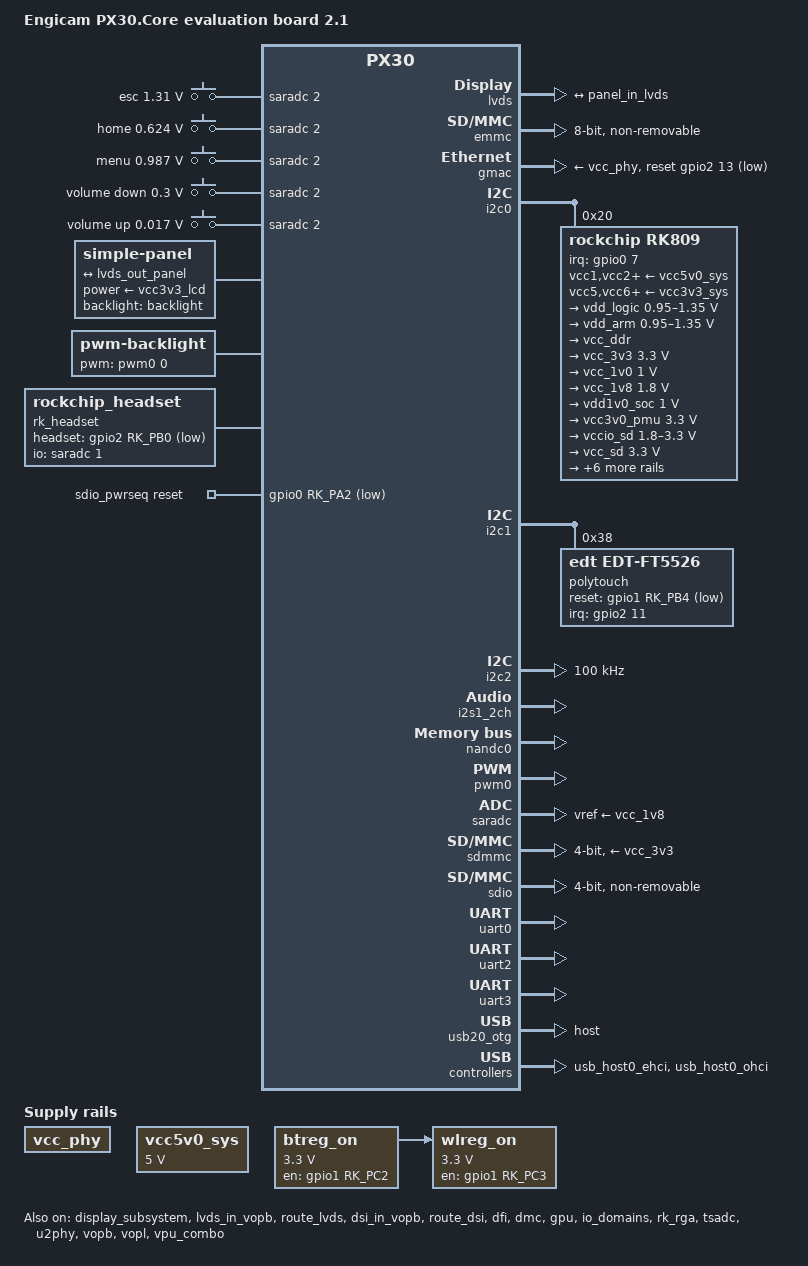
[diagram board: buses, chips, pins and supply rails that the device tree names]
// SPDX-License-Identifier: (GPL-2.0+ OR MIT)
/*
 * Copyright (c) 2020 Engicam srl
 */

/dts-v1/;
#include <dt-bindings/gpio/gpio.h>
#include <dt-bindings/pinctrl/rockchip.h>
#include <dt-bindings/input/input.h>
#include <dt-bindings/display/drm_mipi_dsi.h>
#include <dt-bindings/sensor-dev.h>
#include "px30.dtsi"
#include "px30-linux.dtsi"
#include "px30-core-sgtl5000.dtsi"



/ {
	model = "Engicam PX30.Core evaluation board 2.1";
	compatible = "rockchip,px30-evb-ddr3-v10-linux", "rockchip,px30";

	adc-keys {
		compatible = "adc-keys";
		io-channels = <&saradc 2>;
		io-channel-names = "buttons";
		poll-interval = <100>;
		keyup-threshold-microvolt = <1800000>;

		esc-key {
			linux,code = <KEY_ESC>;
			label = "esc";
			press-threshold-microvolt = <1310000>;
		};

		home-key {
			linux,code = <KEY_HOME>;
			label = "home";
			press-threshold-microvolt = <624000>;
		};

		menu-key {
			linux,code = <KEY_MENU>;
			label = "menu";
			press-threshold-microvolt = <987000>;
		};

		vol-down-key {
			linux,code = <KEY_VOLUMEDOWN>;
			label = "volume down";
			press-threshold-microvolt = <300000>;
		};

		vol-up-key {
			linux,code = <KEY_VOLUMEUP>;
			label = "volume up";
			press-threshold-microvolt = <17000>;
		};
	};

	panel {
		compatible = "simple-panel";
		backlight = <&backlight>;
		power-supply = <&vcc3v3_lcd>;
		enable-delay-ms = <20>;
		prepare-delay-ms = <20>;
		unprepare-delay-ms = <20>;
		disable-delay-ms = <20>;
		bus-format = <MEDIA_BUS_FMT_RGB888_1X7X4_SPWG>;

		width-mm = <217>;
		height-mm = <136>;

		display-timings {
			native-mode = <&timing0>;

			timing0: timing0 {
				clock-frequency = <49500000>;
				hactive = <1024>;
				vactive = <600>;
				hback-porch = <90>;
				hfront-porch = <90>;
				vback-porch = <10>;
				vfront-porch = <10>;
				hsync-len = <90>;
				vsync-len = <10>;
				hsync-active = <0>;
				vsync-active = <0>;
				de-active = <0>;
				pixelclk-active = <0>;
			};
		};

		port {
			panel_in_lvds: endpoint {
				remote-endpoint = <&lvds_out_panel>;
			};
		};
	};

	backlight: backlight {
		compatible = "pwm-backlight";
		pwms = <&pwm0 0 25000 0>;
		brightness-levels = <
			  0   1   2   3   4   5   6   7
			  8   9  10  11  12  13  14  15
			 16  17  18  19  20  21  22  23
			 24  25  26  27  28  29  30  31
			 32  33  34  35  36  37  38  39
			 40  41  42  43  44  45  46  47
			 48  49  50  51  52  53  54  55
			 56  57  58  59  60  61  62  63
			 64  65  66  67  68  69  70  71
			 72  73  74  75  76  77  78  79
			 80  81  82  83  84  85  86  87
			 88  89  90  91  92  93  94  95
			 96  97  98  99 100 101 102 103
			104 105 106 107 108 109 110 111
			112 113 114 115 116 117 118 119
			120 121 122 123 124 125 126 127
			128 129 130 131 132 133 134 135
			136 137 138 139 140 141 142 143
			144 145 146 147 148 149 150 151
			152 153 154 155 156 157 158 159
			160 161 162 163 164 165 166 167
			168 169 170 171 172 173 174 175
			176 177 178 179 180 181 182 183
			184 185 186 187 188 189 190 191
			192 193 194 195 196 197 198 199
			200 201 202 203 204 205 206 207
			208 209 210 211 212 213 214 215
			216 217 218 219 220 221 222 223
			224 225 226 227 228 229 230 231
			232 233 234 235 236 237 238 239
			240 241 242 243 244 245 246 247
			248 249 250 251 252 253 254 255>;
		default-brightness-level = <200>;
	};

	charge-animation {
		compatible = "rockchip,uboot-charge";
		rockchip,uboot-charge-on = <0>;
		rockchip,android-charge-on = <1>;
		rockchip,uboot-low-power-voltage = <3500>;
		rockchip,screen-on-voltage = <3600>;
		status = "okay";
	};

	rk_headset {
		compatible = "rockchip_headset";
		headset_gpio = <&gpio2 RK_PB0 GPIO_ACTIVE_LOW>;
		pinctrl-names = "default";
		pinctrl-0 = <&hp_det>;
		io-channels = <&saradc 1>;
	};

	sdio_pwrseq: sdio-pwrseq {
		compatible = "mmc-pwrseq-simple";
		/*clocks = <&rk809 1>;*/
		/*clock-names = "ext_clock";*/
		pinctrl-names = "default";
		pinctrl-0 = <&wifi_enable_h>;

		/*
		 * On the module itself this is one of these (depending
		 * on the actual card populated):
		 * - SDIO_RESET_L_WL_REG_ON
		 * - PDN (power down when low)
		 */
		reset-gpios = <&gpio0 RK_PA2 GPIO_ACTIVE_LOW>; /* GPIO3_A4 */
	};

	vcc_phy: vcc-phy-regulator {
		compatible = "regulator-fixed";
		regulator-name = "vcc_phy";
		regulator-always-on;
		regulator-boot-on;
	};

	vcc5v0_sys: vccsys {
		compatible = "regulator-fixed";
		regulator-name = "vcc5v0_sys";
		regulator-always-on;
		regulator-boot-on;
		regulator-min-microvolt = <5000000>;
		regulator-max-microvolt = <5000000>;
	};

	btreg_on: fixedregulator-bt@100 {
		compatible = "regulator-fixed";
		regulator-name = "btreg_on";
		gpio = <&gpio1 RK_PC2 GPIO_ACTIVE_HIGH>;
		startup-delay-us = <100>;
		enable-active-high;
		regulator-min-microvolt = <3300000>;
		regulator-max-microvolt = <3300000>;
		regulator-always-on;
	};

	wlreg_on: fixedregulator-wl@100 {
		compatible = "regulator-fixed";
		regulator-name = "wlreg_on";
		gpio = <&gpio1 RK_PC3 GPIO_ACTIVE_HIGH>;
		startup-delay-us = <100>;
		enable-active-high;
		regulator-min-microvolt = <3300000>;
		regulator-max-microvolt = <3300000>;
		regulator-always-on;
		vin-supply = <&btreg_on>;
	};
};

&display_subsystem {
	status = "okay";
};

&lvds {
	status = "okay";

	ports {
		port@1 {
			reg = <1>;

			lvds_out_panel: endpoint {
				remote-endpoint = <&panel_in_lvds>;
			};
		};
	};
};

&lvds_in_vopb {
	status = "okay";
};

&lvds_in_vopl {
	status = "disabled";
};

&route_lvds {
	connect = <&vopb_out_lvds>;
	status = "okay";
};

&dsi {
	status = "disabled";
};

&dsi_in_vopb {
	status = "okay";
};

&dsi_in_vopl {
	status = "disabled";
};

&route_dsi {
	connect = <&vopb_out_dsi>;
	status = "okay";
};

&bus_apll {
	bus-supply = <&vdd_logic>;
	status = "okay";
};

&cpu0 {
	cpu-supply = <&vdd_arm>;
};

&dfi {
	status = "okay";
};

&dmc {
	center-supply = <&vdd_logic>;
	status = "okay";
};

&emmc {
	bus-width = <8>;
	cap-mmc-highspeed;
	mmc-hs200-1_8v;
	supports-emmc;
	disable-wp;
	non-removable;
	num-slots = <1>;
	status = "okay";
};

&gmac {
	phy-supply = <&vcc_phy>;
	clock_in_out = "output";
	snps,reset-gpio = <&gpio2 13 GPIO_ACTIVE_HIGH>;
	snps,reset-active-low;
	snps,reset-delays-us = <0 50000 50000>;
	status = "okay";
};

&gpu {
	mali-supply = <&vdd_logic>;
	status = "okay";
};

&i2c0 {
	status = "okay";

	rk809: pmic@20 {
		compatible = "rockchip,rk809";
		reg = <0x20>;
		interrupt-parent = <&gpio0>;
		interrupts = <7 IRQ_TYPE_LEVEL_LOW>;
		pinctrl-names = "default", "pmic-sleep",
				"pmic-power-off", "pmic-reset";
		pinctrl-0 = <&pmic_int>;
		pinctrl-1 = <&soc_slppin_slp>, <&rk817_slppin_slp>;
		pinctrl-2 = <&soc_slppin_gpio>, <&rk817_slppin_pwrdn>;
		pinctrl-3 = <&soc_slppin_rst>, <&rk817_slppin_rst>;
		rockchip,system-power-controller;
		wakeup-source;
		#clock-cells = <1>;
		clock-output-names = "rk808-clkout1", "rk808-clkout2";
		//fb-inner-reg-idxs = <2>;
		/* 1: rst regs (default in codes), 0: rst the pmic */
		pmic-reset-func = <1>;

		vcc1-supply = <&vcc5v0_sys>;
		vcc2-supply = <&vcc5v0_sys>;
		vcc3-supply = <&vcc5v0_sys>;
		vcc4-supply = <&vcc5v0_sys>;
		vcc5-supply = <&vcc3v3_sys>;
		vcc6-supply = <&vcc3v3_sys>;
		vcc7-supply = <&vcc3v3_sys>;
		vcc8-supply = <&vcc3v3_sys>;
		vcc9-supply = <&vcc5v0_sys>;

		pwrkey {
			status = "okay";
		};

		pinctrl_rk8xx: pinctrl_rk8xx {
			gpio-controller;
			#gpio-cells = <2>;

			rk817_slppin_null: rk817_slppin_null {
				pins = "gpio_slp";
				function = "pin_fun0";
			};

			rk817_slppin_slp: rk817_slppin_slp {
				pins = "gpio_slp";
				function = "pin_fun1";
			};

			rk817_slppin_pwrdn: rk817_slppin_pwrdn {
				pins = "gpio_slp";
				function = "pin_fun2";
			};

			rk817_slppin_rst: rk817_slppin_rst {
				pins = "gpio_slp";
				function = "pin_fun3";
			};
		};

		regulators {
			vdd_logic: DCDC_REG1 {
				regulator-always-on;
				regulator-boot-on;
				regulator-min-microvolt = <950000>;
				regulator-max-microvolt = <1350000>;
				regulator-ramp-delay = <6001>;
				regulator-initial-mode = <0x2>;
				regulator-name = "vdd_logic";
				regulator-state-mem {
					regulator-on-in-suspend;
					regulator-suspend-microvolt = <950000>;
				};
			};

			vdd_arm: DCDC_REG2 {
				regulator-always-on;
				regulator-boot-on;
				regulator-min-microvolt = <950000>;
				regulator-max-microvolt = <1350000>;
				regulator-ramp-delay = <6001>;
				regulator-initial-mode = <0x2>;
				regulator-name = "vdd_arm";
				regulator-state-mem {
					regulator-off-in-suspend;
					regulator-suspend-microvolt = <950000>;
				};
			};

			vcc_ddr: DCDC_REG3 {
				regulator-always-on;
				regulator-boot-on;
				regulator-name = "vcc_ddr";
				regulator-initial-mode = <0x2>;
				regulator-state-mem {
					regulator-on-in-suspend;
				};
			};

			vcc_3v3: DCDC_REG4 {
				regulator-always-on;
				regulator-boot-on;
				regulator-min-microvolt = <3300000>;
				regulator-max-microvolt = <3300000>;
				regulator-initial-mode = <0x2>;
				regulator-name = "vcc_3v3";
				regulator-state-mem {
					regulator-on-in-suspend;
					regulator-suspend-microvolt = <3300000>;
				};
			};

			vcc_1v0: LDO_REG1 {
				regulator-always-on;
				regulator-boot-on;
				regulator-min-microvolt = <1000000>;
				regulator-max-microvolt = <1000000>;
				regulator-name = "vcc_1v0";
				regulator-state-mem {
					regulator-on-in-suspend;
					regulator-suspend-microvolt = <1000000>;
				};
			};

			vcc_1v8: LDO_REG2 {
				regulator-always-on;
				regulator-boot-on;
				regulator-min-microvolt = <1800000>;
				regulator-max-microvolt = <1800000>;

				regulator-name = "vcc_1v8";
				regulator-state-mem {
					regulator-on-in-suspend;
					regulator-suspend-microvolt = <1800000>;
				};
			};

			vdd1v0_soc: LDO_REG3 {
				regulator-always-on;
				regulator-boot-on;
				regulator-min-microvolt = <1000000>;
				regulator-max-microvolt = <1000000>;

				regulator-name = "vcc1v0_soc";
				regulator-state-mem {
					regulator-on-in-suspend;
					regulator-suspend-microvolt = <1000000>;
				};
			};

			vcc3v0_pmu: LDO_REG4 {
				regulator-always-on;
				regulator-boot-on;
				regulator-min-microvolt = <3300000>;
				regulator-max-microvolt = <3300000>;

				regulator-name = "vcc3v0_pmu";
				regulator-state-mem {
					regulator-on-in-suspend;
					regulator-suspend-microvolt = <3300000>;

				};
			};

			vccio_sd: LDO_REG5 {
				regulator-always-on;
				regulator-boot-on;
				regulator-min-microvolt = <1800000>;
				regulator-max-microvolt = <3300000>;

				regulator-name = "vccio_sd";
				regulator-state-mem {
					regulator-on-in-suspend;
					regulator-suspend-microvolt = <3300000>;
				};
			};

			vcc_sd: LDO_REG6 {
				regulator-min-microvolt = <3300000>;
				regulator-max-microvolt = <3300000>;
				regulator-boot-on;

				regulator-name = "vcc_sd";
				regulator-state-mem {
					regulator-on-in-suspend;
					regulator-suspend-microvolt = <3300000>;

				};
			};

			vcc2v8_dvp: LDO_REG7 {
				regulator-boot-on;
				regulator-min-microvolt = <2800000>;
				regulator-max-microvolt = <2800000>;

				regulator-name = "vcc2v8_dvp";
				regulator-state-mem {
					regulator-off-in-suspend;
					regulator-suspend-microvolt = <2800000>;
				};
			};

			vcc1v8_dvp: LDO_REG8 {
				regulator-boot-on;
				regulator-min-microvolt = <1800000>;
				regulator-max-microvolt = <1800000>;

				regulator-name = "vcc1v8_dvp";
				regulator-state-mem {
					regulator-on-in-suspend;
					regulator-suspend-microvolt = <1800000>;
				};
			};

			vdd1v5_dvp: LDO_REG9 {
				regulator-boot-on;
				regulator-min-microvolt = <1500000>;
				regulator-max-microvolt = <1500000>;

				regulator-name = "vdd1v5_dvp";
				regulator-state-mem {
					regulator-off-in-suspend;
					regulator-suspend-microvolt = <1500000>;
				};
			};

			vcc3v3_sys: DCDC_REG5 {
				regulator-always-on;
				regulator-boot-on;
				regulator-min-microvolt = <3300000>;
				regulator-max-microvolt = <3300000>;
				regulator-name = "vcc3v3_sys";
				regulator-state-mem {
					regulator-on-in-suspend;
					regulator-suspend-microvolt = <3300000>;
				};
			};

			vcc3v3_lcd: SWITCH_REG1 {
				regulator-boot-on;
				regulator-name = "vcc3v3_lcd";
			};

			vcc5v0_host: SWITCH_REG2 {
				regulator-always-on;
				regulator-boot-on;
				regulator-name = "vcc5v0_host";
			};
		};

		rk809_codec: codec {
			#sound-dai-cells = <0>;
			compatible = "rockchip,rk809-codec", "rockchip,rk817-codec";
			clocks = <&cru SCLK_I2S1_OUT>;
			clock-names = "mclk";
			pinctrl-names = "default";
			pinctrl-0 = <&i2s1_2ch_mclk>;
			hp-volume = <20>;
			spk-volume = <3>;
			status = "okay";
		};
	};
};

&i2c1 {
	status = "okay";

	polytouch: edt-ft5x26@38 {
               compatible = "edt,edt-ft5526";
               reg = <0x38>;
               pinctrl-names = "default";
               pinctrl-0 = <&edt_ft5x06_pins>;
               interrupt-parent = <&gpio2>;
               interrupts = <11 IRQ_TYPE_EDGE_FALLING>;
               reset-gpios = <&gpio1 RK_PB4 GPIO_ACTIVE_LOW>;
   };
};

&i2c2 {
	status = "okay";

	clock-frequency = <100000>;

	/* These are relatively safe rise/fall times; TODO: measure */
	i2c-scl-falling-time-ns = <50>;
	i2c-scl-rising-time-ns = <300>;

};

&i2s1_2ch {
	status = "okay";
	#sound-dai-cells = <0>;
};

&io_domains {
	status = "okay";

	vccio1-supply = <&vcc_3v3>;
	vccio2-supply = <&vcc_3v3>;
	vccio3-supply = <&vcc_3v3>;
	vccio4-supply = <&vcc_3v3>;
	vccio5-supply = <&vcc_3v3>;
	vccio6-supply = <&vcc_1v8>;
};

&isp_mmu {
	status = "okay";
};

&mipi_dphy_rx0 {
	status = "disabled";
};

&nandc0 {
	status = "okay";
};

&pmu_io_domains {
	status = "okay";

	pmuio1-supply = <&vcc_3v3>;
	pmuio2-supply = <&vcc_3v3>;
};

&pwm0 {
	status = "okay";
};

&rk_rga {
	status = "okay";
};

&rkisp1 {
	status = "disabled";
};

&rockchip_suspend {
	status = "okay";
	rockchip,sleep-debug-en = <1>;
};

&saradc {
	status = "okay";
	vref-supply = <&vcc_1v8>;
};

&sdmmc {
	bus-width = <4>;
	cap-mmc-highspeed;
	cap-sd-highspeed;
	supports-sd;
	card-detect-delay = <800>;
	ignore-pm-notify;
	/*cd-gpios = <&gpio2 4 GPIO_ACTIVE_HIGH>; [> CD GPIO <]*/
	vqmmc-supply = <&vcc_3v3>;
	vmmc-supply = <&vcc_3v3>;
	status = "okay";
};

&sdio {
	bus-width = <4>;
	cap-sd-highspeed;
	supports-sdio;
	ignore-pm-notify;
	keep-power-in-suspend;
	non-removable;
	vmmc-suplly = <&wlreg_on>;
	sd-uhs-sdr104;
	no-1-8-v;
	max-frequency = <25000000>;
	status = "okay";
};

&tsadc {
	pinctrl-names = "gpio", "otpout";
	pinctrl-0 = <&tsadc_otp_gpio>;
	pinctrl-1 = <&tsadc_otp_out>;
	status = "okay";
};

&uart0 {
	status = "okay";
};

&uart2 {
	status = "okay";
};

&uart3 {
	status = "okay";
};


&u2phy {
	status = "okay";

	u2phy_host: host-port {
		status = "okay";
	};

	u2phy_otg: otg-port {
		status = "okay";
	};
};

&usb20_otg {
	dr_mode = "host";
	status = "okay";
};

&usb_host0_ehci {
	status = "okay";
};

&usb_host0_ohci {
	status = "okay";
};

&vopb {
	status = "okay";
};

&vopb_mmu {
	status = "okay";
};

&vopl {
	status = "okay";
};

&vopl_mmu {
	status = "okay";
};

&vpu_combo {
	status = "okay";
};

&pinctrl {
	headphone {
		hp_det: hp-det {
			rockchip,pins = <2 RK_PB0 RK_FUNC_GPIO &pcfg_pull_down>;
		};
	};

	politouch {
        edt_ft5x06_pins:edt-ft5x06-pins {
            rockchip,pins =
				<2 RK_PB3 RK_FUNC_GPIO &pcfg_pull_up>;
        };
	};

	pmic {
		pmic_int: pmic_int {
			rockchip,pins =
				<0 RK_PA7 RK_FUNC_GPIO &pcfg_pull_up>;
		};

		soc_slppin_gpio: soc_slppin_gpio {
			rockchip,pins =
				<0 RK_PA4 RK_FUNC_GPIO &pcfg_output_low>;
		};

		soc_slppin_slp: soc_slppin_slp {
			rockchip,pins =
				<0 RK_PA4 RK_FUNC_1 &pcfg_pull_none>;
		};

		soc_slppin_rst: soc_slppin_rst {
			rockchip,pins =
				<0 RK_PA4 RK_FUNC_2 &pcfg_pull_none>;
		};
	};

	sdio-pwrseq {
		wifi_enable_h: wifi-enable-h {
			rockchip,pins = <0 RK_PA2 RK_FUNC_GPIO &pcfg_pull_none>;
		};
	};
};

/* DON'T PUT ANYTHING BELOW HERE.  PUT IT ABOVE PINCTRL */
/* DON'T PUT ANYTHING BELOW HERE.  PUT IT ABOVE PINCTRL */
/* DON'T PUT ANYTHING BELOW HERE.  PUT IT ABOVE PINCTRL */
